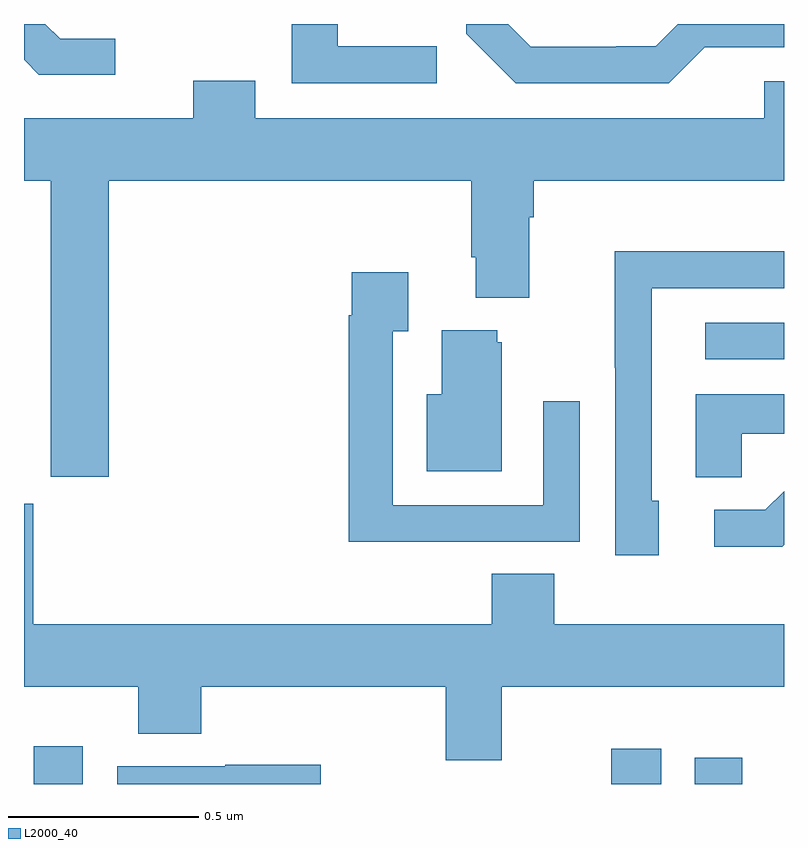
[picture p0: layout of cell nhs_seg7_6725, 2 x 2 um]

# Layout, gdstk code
import gdstk
lib = gdstk.Library(unit=1e-6, precision=1e-09)
def R(c, l, rs):  # rectangles x0, y0, x1, y1
    for r in rs: c.add(gdstk.rectangle(r[:2], r[2:], *l))
def P(c, l, *ps):  # polygons
    for p in ps: c.add(gdstk.Polygon(p, *l))
L2000_40 = (2000, 40)

nhs_seg7_6725 = lib.new_cell('nhs_seg7_6725')
R(nhs_seg7_6725, L2000_40, [(202.025,1027,202.155,1027.099), (203.546,1027,203.677,1027.093), (203.765,1027,203.89,1027.069), (203.793,1028.118,204,1028.214)])
P(nhs_seg7_6725, L2000_40, [(202.24,1028.961),(202.095,1028.961),(202.056,1029),(202,1029),(202,1028.906),(202.039,1028.867),(202.24,1028.867)],
  [(203.086,1028.941),(202.825,1028.941),(202.825,1029),(202.704,1029),(202.704,1028.844),(203.086,1028.844)],
  [(203.792,1028.939),(204,1028.939),(204,1029),(203.721,1029),(203.663,1028.942),(203.558,1028.942),(203.558,1028.94),(203.334,1028.94),(203.274,1029),(203.164,1029),(203.164,1028.975),(203.294,1028.844),(203.697,1028.844)],
  [(202.609,1028.851),(202.445,1028.851),(202.445,1028.752),(202,1028.752),(202,1028.588),(202.07,1028.588),(202.07,1027.809),(202.223,1027.809),(202.223,1028.588),(203.177,1028.588),(203.177,1028.386),(203.189,1028.386),(203.189,1028.279),(203.329,1028.279),(203.329,1028.492),(203.342,1028.492),(203.342,1028.588),(204,1028.588),(204,1028.85),(203.948,1028.85),(203.948,1028.752),(202.609,1028.752)],
  [(203.671,1027.746),(203.652,1027.746),(203.652,1028.304),(204,1028.304),(204,1028.402),(203.554,1028.402),(203.554,1028.095),(203.556,1028.095),(203.556,1027.602),(203.671,1027.602)],
  [(203.147,1027.638),(203.463,1027.638),(203.463,1028.007),(203.367,1028.007),(203.367,1027.734),(202.971,1027.734),(202.971,1028.191),(203.011,1028.191),(203.011,1028.347),(202.863,1028.347),(202.863,1028.234),(202.855,1028.234),(202.855,1027.637),(203.147,1027.637)],
  [(203.257,1028.163),(203.246,1028.163),(203.246,1028.194),(203.099,1028.194),(203.099,1028.026),(203.06,1028.026),(203.06,1027.823),(203.257,1027.823)],
  [(203.889,1027.922),(204,1027.922),(204,1028.026),(203.768,1028.026),(203.768,1027.807),(203.889,1027.807)],
  [(204,1027.63),(204,1027.771),(203.951,1027.722),(203.817,1027.722),(203.817,1027.625),(203.995,1027.625)],
  [(203.257,1027.256),(204,1027.256),(204,1027.42),(203.396,1027.42),(203.396,1027.553),(203.231,1027.553),(203.231,1027.42),(202.024,1027.42),(202.024,1027.737),(202,1027.737),(202,1027.256),(202.301,1027.256),(202.301,1027.132),(202.466,1027.132),(202.466,1027.256),(203.11,1027.256),(203.11,1027.062),(203.257,1027.062)],
  [(202.781,1027.051),(202.529,1027.051),(202.529,1027.047),(202.245,1027.047),(202.245,1027),(202.781,1027)])

lib.write_gds('nhs_seg7_6725.gds')
